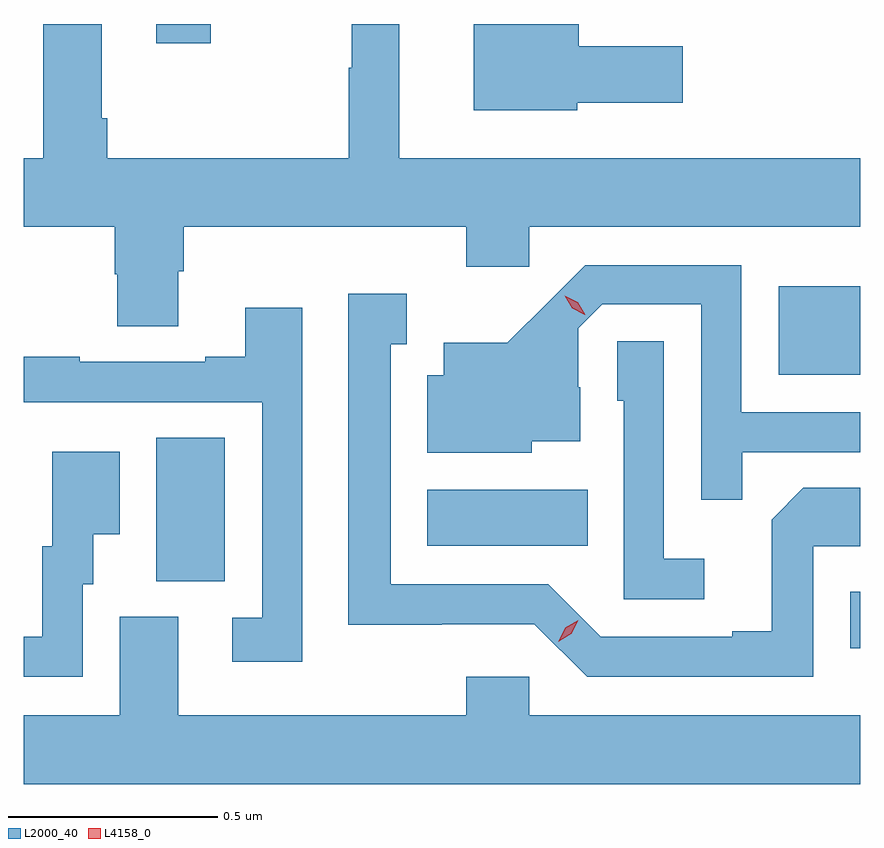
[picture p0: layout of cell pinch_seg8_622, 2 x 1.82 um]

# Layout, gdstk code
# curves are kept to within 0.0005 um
import gdstk
lib = gdstk.Library(unit=1e-6, precision=1e-09)
def R(c, l, rs):  # rectangles x0, y0, x1, y1
    for r in rs: c.add(gdstk.rectangle(r[:2], r[2:], *l))
def P(c, l, *ps):  # polygons
    for p in ps: c.add(gdstk.Polygon(p, *l))
L2000_40 = (2000, 40)
L4158_0 = (4158, 0)

pinch_seg8_622 = lib.new_cell('pinch_seg8_622')
R(pinch_seg8_622, L2000_40, [(172.127,1099.508,172.151,1099.644), (170.468,1099.669,170.632,1100.012), (171.116,1099.754,171.5,1099.888), (171.956,1100.162,172.151,1100.374), (170.468,1100.955,170.598,1101.001)])
P(pinch_seg8_622, L2000_40, [(171.474,1100.813),(171.727,1100.813),(171.727,1100.948),(171.478,1100.948),(171.478,1101.001),(171.227,1101.001),(171.227,1100.795),(171.474,1100.795)],
  [(170.521,1100.41),(170.534,1100.41),(170.534,1100.516),(171.209,1100.516),(171.209,1100.421),(171.36,1100.421),(171.36,1100.516),(172.151,1100.516),(172.151,1100.68),(171.049,1100.68),(171.049,1101.001),(170.935,1101.001),(170.935,1100.897),(170.928,1100.897),(170.928,1100.68),(170.351,1100.68),(170.351,1100.776),(170.338,1100.776),(170.338,1101.001),(170.198,1101.001),(170.198,1100.68),(170.151,1100.68),(170.151,1100.516),(170.369,1100.516),(170.369,1100.403),(170.374,1100.403),(170.374,1100.278),(170.521,1100.278)],
  [(171.869,1099.977),(172.151,1099.977),(172.151,1100.073),(171.867,1100.073),(171.867,1100.424),(171.494,1100.424),(171.307,1100.239),(171.155,1100.239),(171.155,1100.161),(171.116,1100.161),(171.116,1099.976),(171.366,1099.976),(171.366,1100.003),(171.481,1100.003),(171.481,1100.132),(171.477,1100.132),(171.477,1100.274),(171.534,1100.331),(171.771,1100.331),(171.771,1099.864),(171.869,1099.864)],
  [(172.038,1099.752),(172.151,1099.752),(172.151,1099.892),(172.015,1099.892),(171.939,1099.816),(171.939,1099.549),(171.845,1099.549),(171.845,1099.536),(171.531,1099.536),(171.405,1099.662),(171.028,1099.662),(171.028,1100.235),(171.067,1100.235),(171.067,1100.356),(170.927,1100.356),(170.927,1099.565),(171.15,1099.565),(171.15,1099.566),(171.372,1099.566),(171.498,1099.44),(172.038,1099.44)],
  [(170.817,1100.323),(170.681,1100.323),(170.681,1100.206),(170.585,1100.206),(170.585,1100.193),(170.285,1100.193),(170.285,1100.206),(170.151,1100.206),(170.151,1100.097),(170.721,1100.097),(170.721,1099.581),(170.649,1099.581),(170.649,1099.476),(170.817,1099.476)],
  [(171.778,1099.723),(171.681,1099.723),(171.681,1100.243),(171.57,1100.243),(171.57,1100.1),(171.585,1100.1),(171.585,1099.626),(171.778,1099.626)],
  [(170.292,1099.662),(170.317,1099.662),(170.317,1099.781),(170.38,1099.781),(170.38,1099.978),(170.219,1099.978),(170.219,1099.752),(170.195,1099.752),(170.195,1099.536),(170.151,1099.536),(170.151,1099.44),(170.292,1099.44)],
  [(172.151,1099.348),(171.36,1099.348),(171.36,1099.441),(171.209,1099.441),(171.209,1099.348),(170.521,1099.348),(170.521,1099.584),(170.381,1099.584),(170.381,1099.348),(170.151,1099.348),(170.151,1099.184),(172.151,1099.184)])
P(pinch_seg8_622, L4158_0, [(171.492,1100.306),(171.462,1100.321),(171.444,1100.351),(171.444,1100.351),(171.444,1100.351),(171.475,1100.336),(171.493,1100.306),(171.493,1100.306)],
  [(171.429,1099.524),(171.429,1099.524),(171.446,1099.557),(171.477,1099.576),(171.477,1099.576),(171.477,1099.576),(171.46,1099.543),(171.429,1099.524)])

lib.write_gds('pinch_seg8_622.gds')
